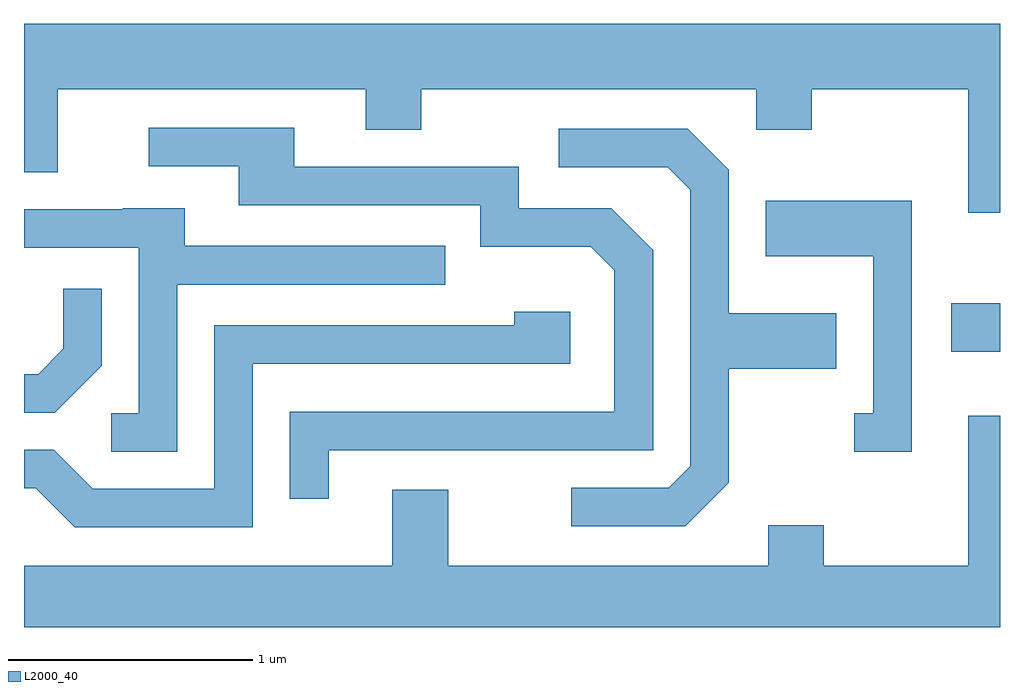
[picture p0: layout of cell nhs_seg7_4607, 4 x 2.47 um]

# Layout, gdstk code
import gdstk
lib = gdstk.Library(unit=1e-6, precision=1e-09)
def R(c, l, rs):  # rectangles x0, y0, x1, y1
    for r in rs: c.add(gdstk.rectangle(r[:2], r[2:], *l))
def P(c, l, *ps):  # polygons
    for p in ps: c.add(gdstk.Polygon(p, *l))
L2000_40 = (2000, 40)

nhs_seg7_4607 = lib.new_cell('nhs_seg7_4607')
R(nhs_seg7_4607, L2000_40, [(329.411,1795.381,329.611,1795.579)])
P(nhs_seg7_4607, L2000_40, [(329.611,1796.724),(325.611,1796.724),(325.611,1796.116),(325.749,1796.116),(325.749,1796.456),(327.011,1796.456),(327.011,1796.291),(327.239,1796.291),(327.239,1796.456),(328.611,1796.456),(328.611,1796.291),(328.839,1796.291),(328.839,1796.456),(329.481,1796.456),(329.481,1795.951),(329.611,1795.951)],
  [(326.859,1794.976),(328.189,1794.976),(328.189,1795.797),(328.017,1795.969),(327.639,1795.969),(327.639,1796.139),(326.719,1796.139),(326.719,1796.299),(326.123,1796.299),(326.123,1796.141),(326.491,1796.141),(326.491,1795.981),(327.481,1795.981),(327.481,1795.811),(327.934,1795.811),(328.031,1795.714),(328.031,1795.134),(326.701,1795.134),(326.701,1794.778),(326.859,1794.778)],
  [(328.499,1794.844),(328.499,1795.311),(328.939,1795.311),(328.939,1795.539),(328.499,1795.539),(328.499,1796.127),(328.332,1796.294),(327.803,1796.294),(327.803,1796.136),(328.249,1796.136),(328.341,1796.044),(328.341,1794.912),(328.254,1794.824),(327.853,1794.824),(327.853,1794.666),(328.322,1794.666)],
  [(329.249,1795.999),(328.651,1795.999),(328.651,1795.771),(329.091,1795.771),(329.091,1795.129),(329.013,1795.129),(329.013,1794.971),(329.249,1794.971)],
  [(326.239,1795.656),(327.338,1795.656),(327.338,1795.814),(326.269,1795.814),(326.269,1795.969),(326.015,1795.969),(326.015,1795.964),(325.611,1795.964),(325.611,1795.806),(326.081,1795.806),(326.081,1795.129),(325.968,1795.129),(325.968,1794.971),(326.239,1794.971)],
  [(325.929,1795.324),(325.929,1795.638),(325.771,1795.638),(325.771,1795.392),(325.669,1795.289),(325.611,1795.289),(325.611,1795.131),(325.737,1795.131)],
  [(326.549,1795.331),(327.849,1795.331),(327.849,1795.544),(327.621,1795.544),(327.621,1795.489),(326.391,1795.489),(326.391,1794.819),(325.892,1794.819),(325.732,1794.979),(325.611,1794.979),(325.611,1794.821),(325.659,1794.821),(325.819,1794.661),(326.549,1794.661)],
  [(329.611,1795.119),(329.481,1795.119),(329.481,1794.504),(328.889,1794.504),(328.889,1794.669),(328.661,1794.669),(328.661,1794.504),(327.349,1794.504),(327.349,1794.814),(327.121,1794.814),(327.121,1794.504),(325.611,1794.504),(325.611,1794.252),(329.611,1794.252)])

lib.write_gds('nhs_seg7_4607.gds')
